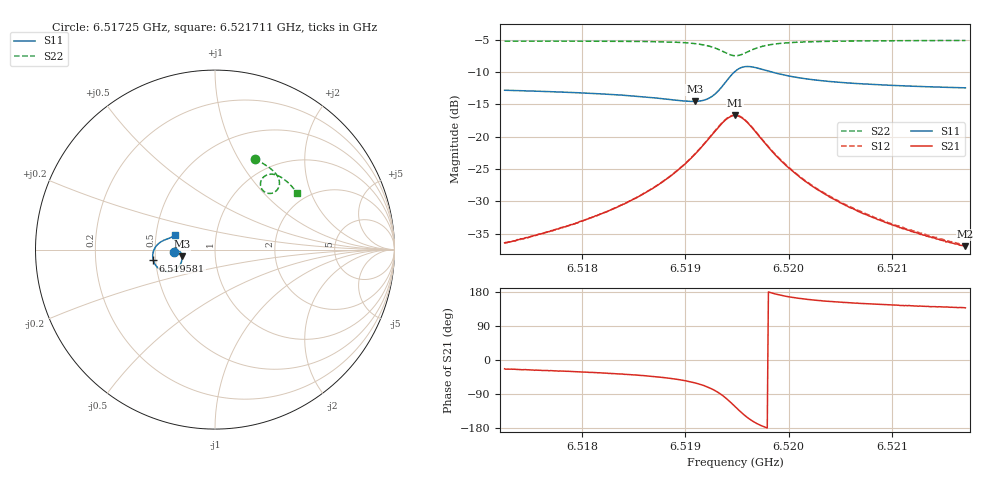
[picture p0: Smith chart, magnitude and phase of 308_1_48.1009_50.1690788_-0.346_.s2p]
#  HZ  S  RI  R  50.00
! Rohde & Schwarz Vector Network Analyzer
! Rohde-Schwarz,ZNB20-2Port,1311601062101988,3.16
! Created: UTC 12/23/2023, 4:05:28 AM
! freq[Hz]  re:S11  im:S11  re:S21  im:S21  re:S12  im:S12  re:S22  im:S22
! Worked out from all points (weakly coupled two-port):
!   401 points, 6.51725 GHz to 6.521711 GHz, reference 50 ohm
!   highest |S21| = -16.70 dB at 6.51948 GHz (marker M1); lowest = -36.9 dB at 6.521711 GHz (marker M2)
!   lowest |S11| = -14.5 dB at 6.51909 GHz (marker M3), VSWR 1.46, Z = 34.4 - j2.6 ohm
!   |S11| at or under -10 dB: start of sweep to 6.519473 GHz; 6.51984 GHz to end of sweep
!   |S22| runs from -7.5 to -5.1 dB; largest |S21 - S12| = 0.0045
!   S11 on the Smith chart (normalised r, x): 6.51725 GHz: 0.63, -0.02; 6.519581 GHz: 0.49, -0.07; 6.521711 GHz: 0.63, +0.11
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6.5172501e9  -0.2287 -0.0116  0.0139 -0.00596  0.0139 -0.00557  0.221 0.5023
6.5176962e9  -0.2231 -0.00558  0.0166 -0.00877  0.0167 -0.00823  0.2539 0.4869
6.5179973e9  -0.2183 -0.00253  0.0189 -0.0117  0.0193 -0.0111  0.2761 0.4744
6.5184099e9  -0.2092 -0.0016  0.0238 -0.0185  0.0247 -0.0178  0.307 0.4536
6.5187444e9  -0.1982 -0.00744  0.0303 -0.0303  0.0314 -0.0295  0.3331 0.4299
6.518934e9  -0.1901 -0.0181  0.0346 -0.0436  0.0361 -0.0429  0.3479 0.41
6.5190901e9  -0.184 -0.0365  0.0363 -0.0632  0.0384 -0.0626  0.3576 0.3857
6.5191905e9  -0.1842 -0.0576  0.0325 -0.0832  0.0353 -0.0829  0.3591 0.3639
6.5192686e9  -0.1921 -0.0805  0.0221 -0.1038  0.0253 -0.1039  0.353 0.3428
6.5193912e9  -0.2378 -0.1185  -0.0246 -0.1334  -0.0209 -0.1351  0.3166 0.314
6.5194358e9  -0.2675 -0.1223  -0.0515 -0.1336  -0.0483 -0.1361  0.295 0.3137
6.5194805e9  -0.2991 -0.1141  -0.0789 -0.123  -0.076 -0.1261  0.2739 0.323
6.5195251e9  -0.3252 -0.0941  -0.1001 -0.1026  -0.098 -0.1063  0.259 0.3404
6.5195808e9  -0.3438 -0.0607  -0.1126 -0.0715  -0.1114 -0.0753  0.2533 0.3664
6.5196923e9  -0.3409 -0.00328  -0.1037 -0.0226  -0.104 -0.0258  0.2706 0.4042
6.5198039e9  -0.3208 0.0275  -0.0829 0.000564  -0.0838 -0.00184  0.297 0.4182
6.5200157e9  -0.2895 0.0499  -0.0544 0.0134  -0.0554 0.0121  0.3349 0.4174
6.5202276e9  -0.2707 0.0578  -0.0387 0.0151  -0.0396 0.0141  0.3603 0.4074
6.5205733e9  -0.2529 0.0643  -0.0254 0.0139  -0.0262 0.0134  0.3903 0.3874
6.5209748e9  -0.2404 0.0699  -0.0175 0.0119  -0.0181 0.0118  0.4169 0.3633
6.521287e9  -0.2333 0.0742  -0.0139 0.0108  -0.0144 0.0107  0.4346 0.3441
6.5217108e9  -0.2254 0.0799  -0.0105 0.0096  -0.0109 0.00941  0.4561 0.3177
